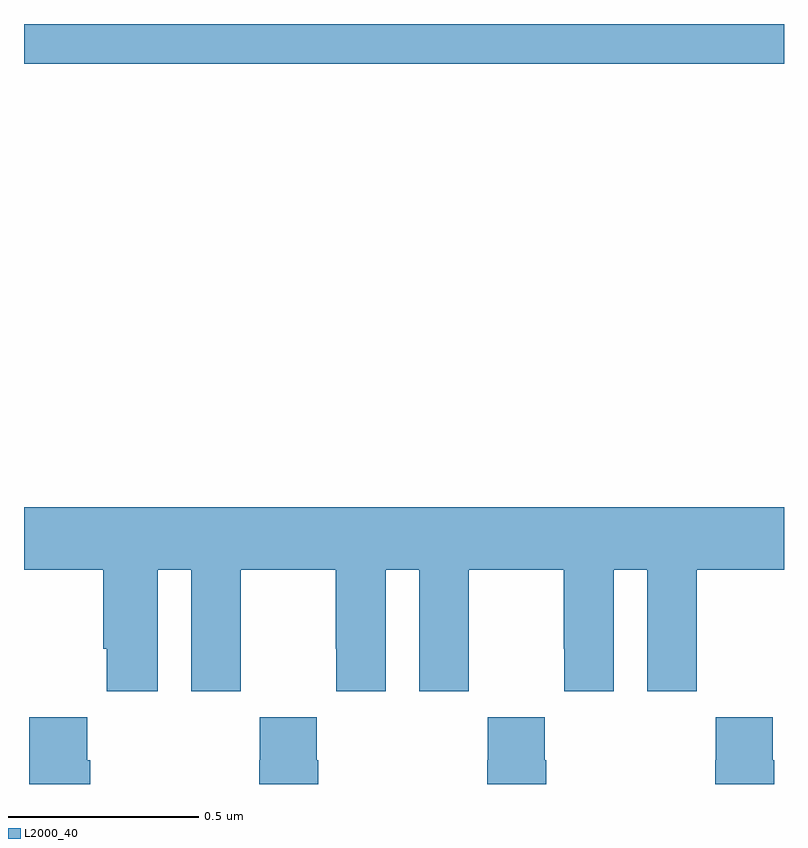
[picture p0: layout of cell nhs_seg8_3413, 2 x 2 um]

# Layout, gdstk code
import gdstk
lib = gdstk.Library(unit=1e-6, precision=1e-09)
def R(c, l, rs):  # rectangles x0, y0, x1, y1
    for r in rs: c.add(gdstk.rectangle(r[:2], r[2:], *l))
def P(c, l, *ps):  # polygons
    for p in ps: c.add(gdstk.Polygon(p, *l))
L2000_40 = (2000, 40)

nhs_seg8_3413 = lib.new_cell('nhs_seg8_3413')
R(nhs_seg8_3413, L2000_40, [(156,1153.796,158,1153.9)])
P(nhs_seg8_3413, L2000_40, [(156.352,1152.464),(156.44,1152.464),(156.44,1152.144),(156.57,1152.144),(156.57,1152.256),(156.571,1152.256),(156.571,1152.464),(156.821,1152.464),(156.821,1152.256),(156.822,1152.256),(156.822,1152.144),(156.952,1152.144),(156.952,1152.464),(157.04,1152.464),(157.04,1152.144),(157.17,1152.144),(157.17,1152.256),(157.171,1152.256),(157.171,1152.464),(157.421,1152.464),(157.421,1152.256),(157.422,1152.256),(157.422,1152.144),(157.552,1152.144),(157.552,1152.464),(157.64,1152.464),(157.64,1152.144),(157.77,1152.144),(157.77,1152.256),(157.771,1152.256),(157.771,1152.464),(158,1152.464),(158,1152.628),(156,1152.628),(156,1152.464),(156.209,1152.464),(156.209,1152.256),(156.218,1152.256),(156.218,1152.144),(156.352,1152.144)],
  [(156.174,1151.963),(156.167,1151.963),(156.167,1152.076),(156.014,1152.076),(156.014,1151.9),(156.174,1151.9)],
  [(156.774,1151.963),(156.771,1151.963),(156.771,1152.076),(156.621,1152.076),(156.621,1151.963),(156.619,1151.963),(156.619,1151.9),(156.774,1151.9)],
  [(157.374,1151.963),(157.371,1151.963),(157.371,1152.076),(157.221,1152.076),(157.221,1151.963),(157.219,1151.963),(157.219,1151.9),(157.374,1151.9)],
  [(157.974,1151.963),(157.971,1151.963),(157.971,1152.076),(157.821,1152.076),(157.821,1151.963),(157.819,1151.963),(157.819,1151.9),(157.974,1151.9)])

lib.write_gds('nhs_seg8_3413.gds')
